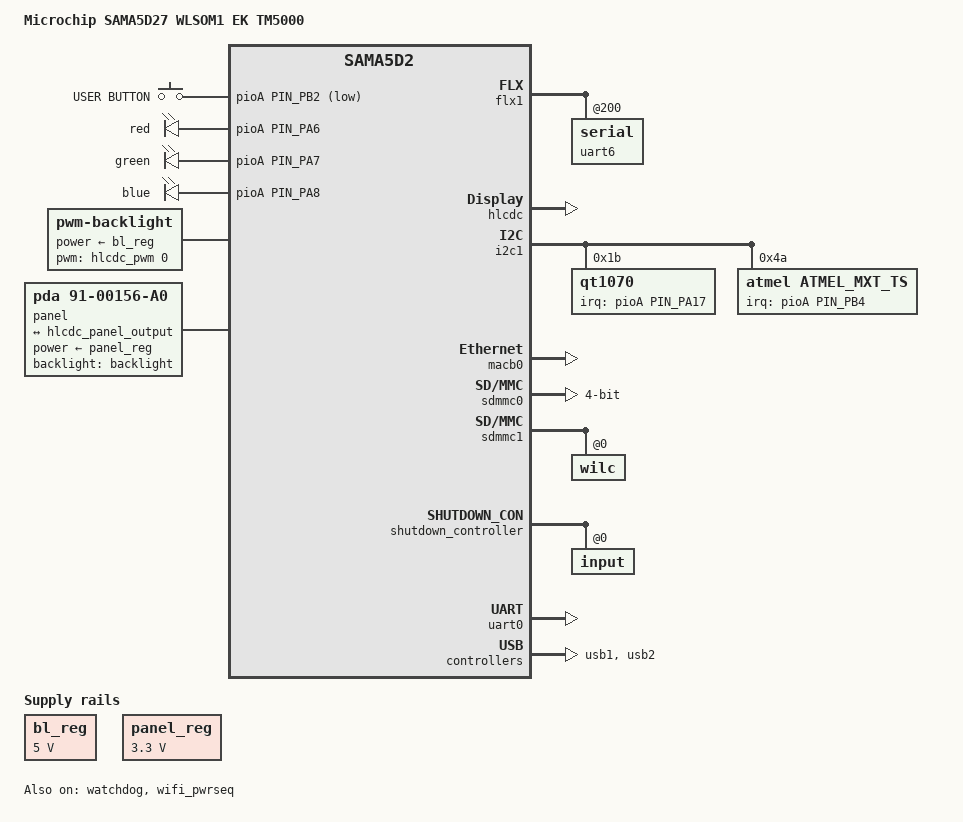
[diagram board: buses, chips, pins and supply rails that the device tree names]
// SPDX-License-Identifier: (GPL-2.0+ OR MIT)
/*
 * at91-sama5d27_wlsom1_ek.dts - Device Tree file for SAMA5D27 WLSOM1 EK
 *
 * Copyright (C) 2019 Microchip Technology Inc. and its subsidiaries
 *
 * Author: Nicolas Ferre <nicolas.ferre@microcihp.com>
 */
/dts-v1/;
#include "at91-sama5d27_wlsom1.dtsi"
#include <dt-bindings/mfd/atmel-flexcom.h>
#include <dt-bindings/gpio/gpio.h>

/ {
	model = "Microchip SAMA5D27 WLSOM1 EK TM5000";
	compatible = "microchip,sama5d27-wlsom1-ek", "microchip,sama5d27-wlsom1", "atmel,sama5d2", "atmel,sama5";

	aliases {
		serial0 = &uart0;	/* DBGU */
		serial1 = &uart6;	/* BT */
		i2c1	= &i2c1;
	};

	chosen {
		stdout-path = "serial0:115200n8";
	};

	gpio_keys {
		compatible = "gpio-keys";

		pinctrl-names = "default";
		pinctrl-0 = <&pinctrl_key_gpio_default>;
		status = "okay";

		sw4 {
			label = "USER BUTTON";
			gpios = <&pioA PIN_PB2 GPIO_ACTIVE_LOW>;
			linux,code = <0x104>;
			wakeup-source;
		};
	};

	leds {
		compatible = "gpio-leds";
		pinctrl-names = "default";
		pinctrl-0 = <&pinctrl_led_gpio_default>;
		status = "okay";

		red {
			label = "red";
			gpios = <&pioA PIN_PA6 GPIO_ACTIVE_HIGH>;
		};


		green {
			label = "green";
			gpios = <&pioA PIN_PA7 GPIO_ACTIVE_HIGH>;
		};

		blue {
			label = "blue";
			gpios = <&pioA PIN_PA8 GPIO_ACTIVE_HIGH>;
			linux,default-trigger = "heartbeat";
		};
	};

	/* LCD PDA 5 section */
	backlight: backlight {
		compatible = "pwm-backlight";
		pwms = <&hlcdc_pwm 0 50000 0>;
		brightness-levels = <0 4 8 16 32 64 128 255>;
		default-brightness-level = <7>;
		power-supply = <&bl_reg>;
		status = "okay";
	};

	bl_reg: backlight_regulator {
		compatible = "regulator-fixed";
		regulator-name = "backlight-power-supply";
		regulator-min-microvolt = <5000000>;
		regulator-max-microvolt = <5000000>;
		status = "okay";
	};

	panel: panel {
		compatible = "pda,91-00156-a0", "simple-panel";
		backlight = <&backlight>;
		power-supply = <&panel_reg>;
		#address-cells = <1>;
		#size-cells = <0>;
		status = "okay";

		port@0 {
			reg = <0>;
			#address-cells = <1>;
			#size-cells = <0>;

			panel_input: endpoint@0 {
				reg = <0>;
				remote-endpoint = <&hlcdc_panel_output>;
			};
		};
	};

	panel_reg: panel_regulator {
		compatible = "regulator-fixed";
		regulator-name = "panel-power-supply";
		regulator-min-microvolt = <3300000>;
		regulator-max-microvolt = <3300000>;
		status = "okay";
	};
};

&flx1 {
	status = "okay";

	uart6: serial@200 {
		atmel,use-dma-rx;
		atmel,use-dma-tx;
		status = "okay";
	};
};

&hlcdc {
	status = "okay";

	hlcdc-display-controller {
		pinctrl-names = "default";
		pinctrl-0 = <&pinctrl_lcd_base &pinctrl_lcd_rgb666>;
		port@0 {
			#address-cells = <1>;
			#size-cells = <0>;
			hlcdc_panel_output: endpoint@0 {
				reg = <0>;
				remote-endpoint = <&panel_input>;
			};
		};
	};

	hlcdc_pwm: hlcdc-pwm {
		pinctrl-names = "default";
		pinctrl-0 = <&pinctrl_lcd_pwm>;
	};
};

&i2c1 {
	dmas = <0>, <0>;
	pinctrl-names = "default";
	pinctrl-0 = <&pinctrl_i2c1_default>;
	status = "okay";

	#address-cells = <1>;
	#size-cells = <0>;

	qt1070: keyboard@1b {
		compatible = "qt1070";
		reg = <0x1b>;
		interrupt-parent = <&pioA>;
		interrupts = <PIN_PA17 0>;
		pinctrl-names = "default";
		pinctrl-0 = <&pinctrl_qt1070_irq>;
		wakeup-source;
	};

	atmel_mxt_ts@4a {
		compatible = "atmel,atmel_mxt_ts";
		reg = <0x4a>;
		interrupt-parent = <&pioA>;
		interrupts = <PIN_PB4 0x0>;
		pinctrl-names = "default";
		pinctrl-0 = <&pinctrl_mxt_irq>;
	};
};

&macb0 {
	status = "okay";
};

&pioA {
	/*
	 * There is no real pinmux for ADC, if the pin
	 * is not requested by another peripheral then
	 * the muxing is done when channel is enabled.
	 * Requesting pins for ADC is GPIO is
	 * encouraged to prevent conflicts and to
	 * disable bias in order to be in the same
	 * state when the pin is not muxed to the adc.
	 */
	pinctrl_adc_default: adc_default {
		pinmux = <PIN_PD23__GPIO>;
		bias-disable;
	};

	/*
	 * The ADTRG pin can work on any edge type.
	 * In here it's being pulled up, so need to
	 * connect it to ground to get an edge e.g.
	 * Trigger can be configured on falling, rise
	 * or any edge, and the pull-up can be changed
	 * to pull-down or left floating according to
	 * needs.
	 */
	pinctrl_adtrg_default: adtrg_default {
		pinmux = <PIN_PD31__ADTRG>;
		bias-pull-up;
	};

	pinctrl_i2c1_default: i2c1_default {
		pinmux = <PIN_PD19__TWD1>,
			 <PIN_PD20__TWCK1>;
		bias-disable;
	};

	pinctrl_key_gpio_default: key_gpio_default {
		pinmux = <PIN_PB2__GPIO>;
		bias-pull-up;
	};

	pinctrl_led_gpio_default: led_gpio_default {
		pinmux = <PIN_PA6__GPIO>,
			 <PIN_PA7__GPIO>,
			 <PIN_PA8__GPIO>;
		bias-pull-down;
	};

	pinctrl_sdmmc0_default: sdmmc0_default {
		cmd_data {
			pinmux = <PIN_PA1__SDMMC0_CMD>,
				 <PIN_PA2__SDMMC0_DAT0>,
				 <PIN_PA3__SDMMC0_DAT1>,
				 <PIN_PA4__SDMMC0_DAT2>,
				 <PIN_PA5__SDMMC0_DAT3>;
			bias-disable;
		};

		ck_cd_vddsel {
			pinmux = <PIN_PA0__SDMMC0_CK>,
				 <PIN_PA11__SDMMC0_VDDSEL>,
				 <PIN_PA12__SDMMC0_WP>,
				 <PIN_PA13__SDMMC0_CD>;
			bias-disable;
		};
	};

	pinctrl_uart0_default: uart0_default {
		pinmux = <PIN_PB26__URXD0>,
			 <PIN_PB27__UTXD0>;
		bias-disable;
	};

	pinctrl_usb_default: usb_default {
		pinmux = <PIN_PA14__GPIO>;
		bias-disable;
	};

	/* LCD PDA 5 section */
	pinctrl_qt1070_irq: pinctrl_qt1070_irq {
		pinmux = <PIN_PA17__GPIO>;
		bias-pull-up;
		input-debounce = <1>;
	};

	pinctrl_mxt_irq: pinctrl_mxt_irq {
		pinmux = <PIN_PB4__GPIO>;
		bias-pull-up;
		input-debounce = <1>;
	};

	pinctrl_lcd_base: pinctrl_lcd_base {
		pinmux = <PIN_PC30__LCDVSYNC>,
			 <PIN_PC31__LCDHSYNC>,
			 <PIN_PD1__LCDDEN>,
			 <PIN_PD0__LCDPCK>;
		bias-disable;
	};

	pinctrl_lcd_rgb666: pinctrl_lcd_rgb666 {
		pinmux = <PIN_PC10__LCDDAT2>,
			 <PIN_PC11__LCDDAT3>,
			 <PIN_PC12__LCDDAT4>,
			 <PIN_PC13__LCDDAT5>,
			 <PIN_PC14__LCDDAT6>,
			 <PIN_PC15__LCDDAT7>,
			 <PIN_PC16__LCDDAT10>,
			 <PIN_PC17__LCDDAT11>,
			 <PIN_PC18__LCDDAT12>,
			 <PIN_PC19__LCDDAT13>,
			 <PIN_PC20__LCDDAT14>,
			 <PIN_PC21__LCDDAT15>,
			 <PIN_PC22__LCDDAT18>,
			 <PIN_PC23__LCDDAT19>,
			 <PIN_PC24__LCDDAT20>,
			 <PIN_PC25__LCDDAT21>,
			 <PIN_PC26__LCDDAT22>,
			 <PIN_PC27__LCDDAT23>;
		bias-disable;
	};

	pinctrl_lcd_pwm: pinctrl_lcd_pwm {
		pinmux = <PIN_PC28__LCDPWM>;
		bias-disable;
	};
};

&pmc {
	pmc_fast_restart {
		compatible = "atmel,sama5d2-pmc-fast-startup";
		#address-cells = <1>;
		#size-cells = <0>;

		atmel,wakeup-rtc-timer;

		wkpin: input@0 {
			reg = <0>;
		};

		gmac_wol: input@10 {
			reg = <10>;
			atmel,wakeup-active-high;
		};
	};
};

&sdmmc0 {
	bus-width = <4>;
	pinctrl-names = "default";
	pinctrl-0 = <&pinctrl_sdmmc0_default>;
	status = "okay";
};

&sdmmc1 {
	status = "okay"; /* conflict with qspi0 */

	wilc: wilc@0 {
		status = "okay";
	};
};

&shutdown_controller {
	atmel,shdwc-debouncer = <976>;
	atmel,wakeup-rtc-timer;

	input@0 {
		reg = <0>;
		atmel,wakeup-type = "low";
	};
};

&tcb0 {
	timer0: timer@0 {
		compatible = "atmel,tcb-timer";
		reg = <0>;
	};

	timer1: timer@1 {
		compatible = "atmel,tcb-timer";
		reg = <1>;
	};
};

&uart0 {
	pinctrl-names = "default";
	pinctrl-0 = <&pinctrl_uart0_default>;
	atmel,use-dma-rx;
	atmel,use-dma-tx;
	status = "okay";
};

&usb1 {
	num-ports = <3>;
	atmel,vbus-gpio = <0
			   &pioA PIN_PA14 GPIO_ACTIVE_HIGH
			   0
			  >;
	pinctrl-names = "default";
	pinctrl-0 = <&pinctrl_usb_default>;
	status = "okay";
};

&usb2 {
	phy_type = "hsic";
	status = "okay";
};

&watchdog {
	status = "okay";
};

&wifi_pwrseq {
	status = "okay";
};
